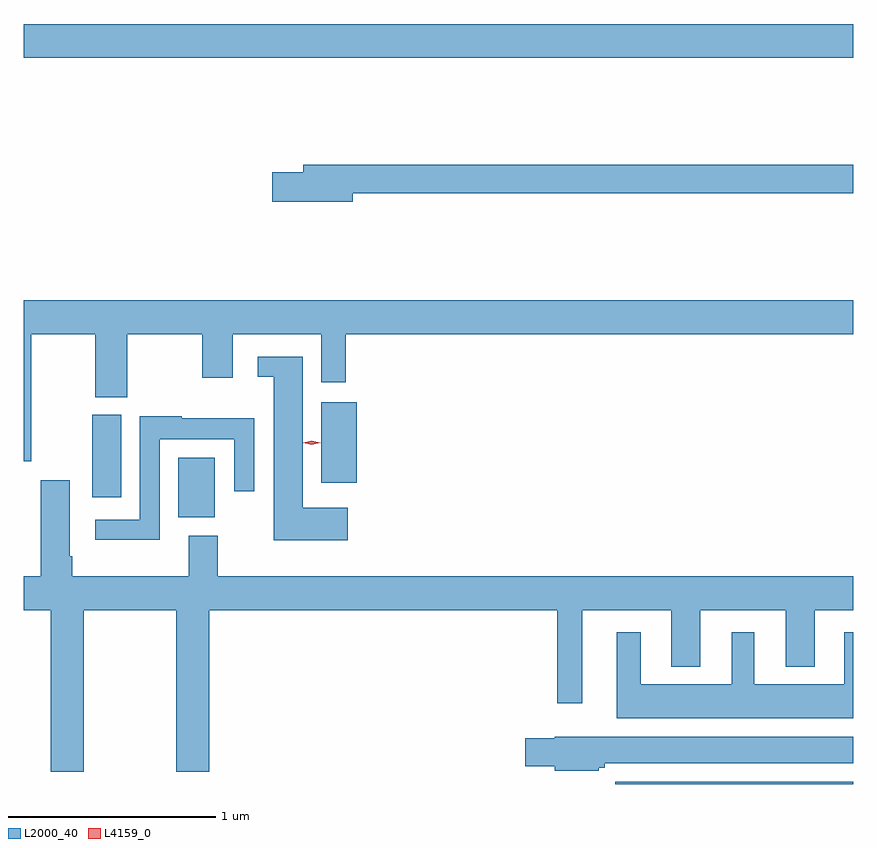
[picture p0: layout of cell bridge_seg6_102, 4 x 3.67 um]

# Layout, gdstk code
import gdstk
lib = gdstk.Library(unit=1e-6, precision=1e-09)
def R(c, l, rs):  # rectangles x0, y0, x1, y1
    for r in rs: c.add(gdstk.rectangle(r[:2], r[2:], *l))
def P(c, l, *ps):  # polygons
    for p in ps: c.add(gdstk.Polygon(p, *l))
L2000_40 = (2000, 40)
L4159_0 = (4159, 0)

bridge_seg6_102 = lib.new_cell('bridge_seg6_102')
R(bridge_seg6_102, L2000_40, [(471.797,931.845,472.944,931.857), (469.688,933.131,469.864,933.418), (469.274,933.228,469.414,933.627), (470.378,933.299,470.549,933.688), (468.944,935.348,472.944,935.512)])
P(bridge_seg6_102, L2000_40, [(470.53,934.696),(472.944,934.696),(472.944,934.832),(470.291,934.832),(470.291,934.796),(470.142,934.796),(470.142,934.654),(470.53,934.654)],
  [(468.979,934.016),(469.288,934.016),(469.288,933.712),(469.443,933.712),(469.443,934.016),(469.804,934.016),(469.804,933.804),(469.951,933.804),(469.951,934.016),(470.378,934.016),(470.378,933.783),(470.497,933.783),(470.497,934.016),(472.944,934.016),(472.944,934.18),(468.944,934.18),(468.944,933.402),(468.979,933.402)],
  [(470.506,933.178),(470.29,933.178),(470.29,933.906),(470.073,933.906),(470.073,933.809),(470.15,933.809),(470.15,933.02),(470.506,933.02)],
  [(469.599,933.509),(469.959,933.509),(469.959,933.258),(470.055,933.258),(470.055,933.61),(469.706,933.61),(469.706,933.62),(469.503,933.62),(469.503,933.12),(469.287,933.12),(469.287,933.023),(469.599,933.023)],
  [(469.233,932.684),(469.678,932.684),(469.678,931.905),(469.838,931.905),(469.838,932.684),(471.516,932.684),(471.516,932.235),(471.637,932.235),(471.637,932.684),(472.067,932.684),(472.067,932.411),(472.207,932.411),(472.207,932.684),(472.619,932.684),(472.619,932.411),(472.759,932.411),(472.759,932.684),(472.944,932.684),(472.944,932.848),(469.879,932.848),(469.879,933.043),(469.739,933.043),(469.739,932.848),(469.178,932.848),(469.178,932.944),(469.165,932.944),(469.165,933.31),(469.025,933.31),(469.025,932.848),(468.944,932.848),(468.944,932.684),(469.073,932.684),(469.073,931.905),(469.233,931.905)],
  [(472.944,932.578),(472.901,932.578),(472.901,932.326),(472.468,932.326),(472.468,932.578),(472.358,932.578),(472.358,932.326),(471.919,932.326),(471.919,932.578),(471.803,932.578),(471.803,932.162),(472.944,932.162)],
  [(471.717,931.924),(471.747,931.924),(471.747,931.946),(472.944,931.946),(472.944,932.074),(471.504,932.074),(471.504,932.066),(471.363,932.066),(471.363,931.931),(471.504,931.931),(471.504,931.91),(471.717,931.91)])
P(bridge_seg6_102, L4159_0, [(470.332,933.481),(470.292,933.491),(470.292,933.491),(470.292,933.491),(470.332,933.501),(470.373,933.491),(470.373,933.491),(470.373,933.491)])

lib.write_gds('bridge_seg6_102.gds')
